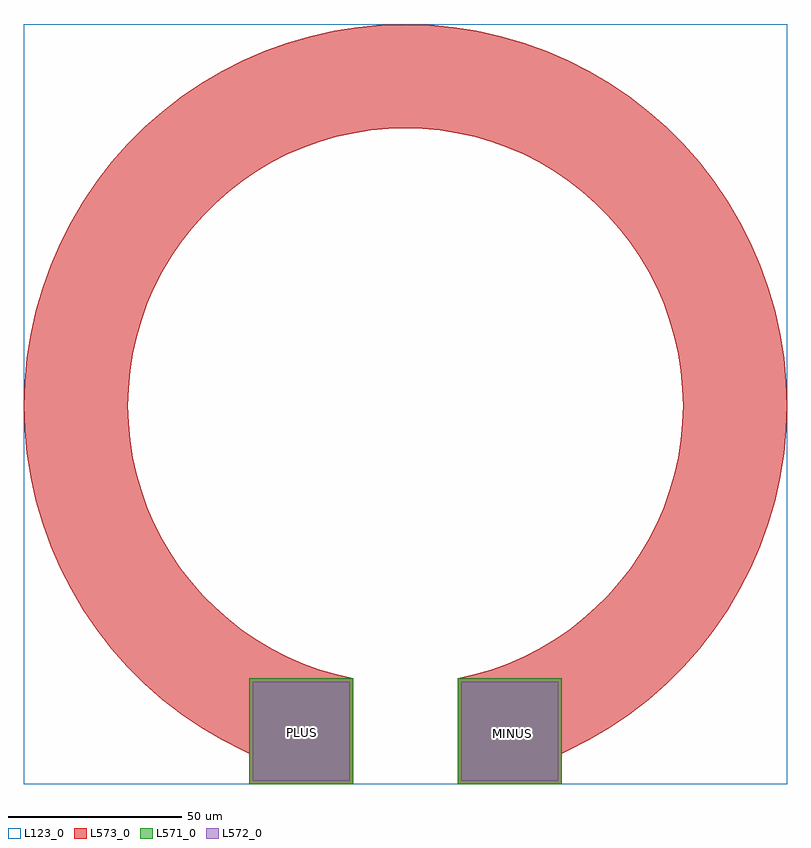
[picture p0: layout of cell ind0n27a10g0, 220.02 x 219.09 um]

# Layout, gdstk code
import gdstk
lib = gdstk.Library(unit=1e-6, precision=1e-09)
def R(c, l, rs):  # rectangles x0, y0, x1, y1
    for r in rs: c.add(gdstk.rectangle(r[:2], r[2:], *l))
def P(c, l, *ps):  # polygons
    for p in ps: c.add(gdstk.Polygon(p, *l))
L123_0 = (123, 0)
L571_0 = (571, 0)
L572_0 = (572, 0)
L573_0 = (573, 0)

ind0n27a10g0 = lib.new_cell('ind0n27a10g0')
R(ind0n27a10g0, L123_0, [(-110.01,0,110.01,219.09)])
R(ind0n27a10g0, L571_0, [(-45,0,-15,30.49), (15,0,45,30.49), (-40.24,4.57,-19.83,25.11), (20.02,4.82,39.94,24.86)])
R(ind0n27a10g0, L572_0, [(-44,1,-16,29.49), (16,1,44,29.49)])
P(ind0n27a10g0, L573_0, [(110,109.08),(109.78,115.99),(109.13,122.87),(108.05,129.69),(106.54,136.44),(104.62,143.07),(102.28,149.57),(99.53,155.92),(96.39,162.07),(92.88,168.02),(88.99,173.74),(84.76,179.2),(80.19,184.38),(75.3,189.27),(70.12,193.84),(64.66,198.07),(58.94,201.96),(52.99,205.47),(46.84,208.61),(40.49,211.35),(33.99,213.7),(27.36,215.62),(20.61,217.13),(13.79,218.21),(6.91,218.86),(0,219.08),(-6.91,218.86),(-13.79,218.21),(-20.61,217.13),(-27.36,215.62),(-33.99,213.7),(-40.49,211.35),(-46.84,208.61),(-52.99,205.47),(-58.94,201.96),(-64.66,198.07),(-70.12,193.84),(-75.3,189.27),(-80.19,184.38),(-84.76,179.2),(-88.99,173.74),(-92.88,168.02),(-96.39,162.07),(-99.53,155.92),(-102.28,149.57),(-104.62,143.07),(-106.54,136.44),(-108.05,129.69),(-109.13,122.87),(-109.78,115.99),(-110,109.08),(-109.78,102.17),(-109.13,95.29),(-108.05,88.47),(-106.54,81.72),(-104.62,75.09),(-102.28,68.59),(-99.53,62.24),(-96.39,56.09),(-92.88,50.14),(-88.99,44.42),(-84.76,38.96),(-80.19,33.78),(-75.3,28.89),(-70.12,24.32),(-64.66,20.09),(-58.94,16.2),(-52.99,12.69),(-46.84,9.55),(-45,8.75),(-45,0),(-15,0),(-15,30.5),(-19.9,31.59),(-24.72,33),(-29.45,34.7),(-34.06,36.69),(-38.54,38.97),(-42.87,41.53),(-47.02,44.36),(-50.99,47.44),(-54.76,50.76),(-58.32,54.32),(-61.64,58.09),(-64.72,62.06),(-67.55,66.21),(-70.11,70.54),(-72.39,75.02),(-74.38,79.63),(-76.08,84.36),(-77.49,89.18),(-78.58,94.09),(-79.37,99.05),(-79.84,104.06),(-80,109.08),(-79.84,114.1),(-79.37,119.11),(-78.58,124.07),(-77.49,128.97),(-76.08,133.8),(-74.38,138.53),(-72.39,143.14),(-70.11,147.62),(-67.55,151.95),(-64.72,156.1),(-61.64,160.07),(-58.32,163.84),(-54.76,167.4),(-50.99,170.72),(-47.02,173.8),(-42.87,176.63),(-38.54,179.19),(-34.06,181.47),(-29.45,183.46),(-24.72,185.17),(-19.9,186.57),(-14.99,187.66),(-10.03,188.45),(-5.02,188.92),(0,189.08),(5.02,188.92),(10.03,188.45),(14.99,187.66),(19.9,186.57),(24.72,185.17),(29.45,183.46),(34.06,181.47),(38.54,179.19),(42.87,176.63),(47.02,173.8),(50.99,170.72),(54.76,167.4),(58.32,163.84),(61.64,160.07),(64.72,156.1),(67.55,151.95),(70.11,147.62),(72.39,143.14),(74.38,138.53),(76.08,133.8),(77.49,128.97),(78.58,124.07),(79.37,119.11),(79.84,114.1),(80,109.08),(79.84,104.06),(79.37,99.05),(78.58,94.09),(77.49,89.18),(76.08,84.36),(74.38,79.63),(72.39,75.02),(70.11,70.54),(67.55,66.21),(64.72,62.06),(61.64,58.09),(58.32,54.32),(54.76,50.76),(50.99,47.44),(47.02,44.36),(42.87,41.53),(38.54,38.97),(34.06,36.69),(29.45,34.7),(24.72,33),(19.9,31.59),(15,30.5),(15,0),(45,0),(45,8.75),(46.84,9.55),(52.99,12.69),(58.94,16.2),(64.66,20.09),(70.12,24.32),(75.3,28.89),(80.19,33.78),(84.76,38.96),(88.99,44.42),(92.88,50.14),(96.39,56.09),(99.53,62.24),(102.28,68.59),(104.62,75.09),(106.54,81.72),(108.05,88.47),(109.13,95.29),(109.78,102.17)])
ind0n27a10g0.add(gdstk.Label('PLUS', (-29.67,14.9), layer=571, texttype=0))
ind0n27a10g0.add(gdstk.Label('MINUS', (30.96,14.66), layer=571, texttype=0))

lib.write_gds('ind0n27a10g0.gds')
